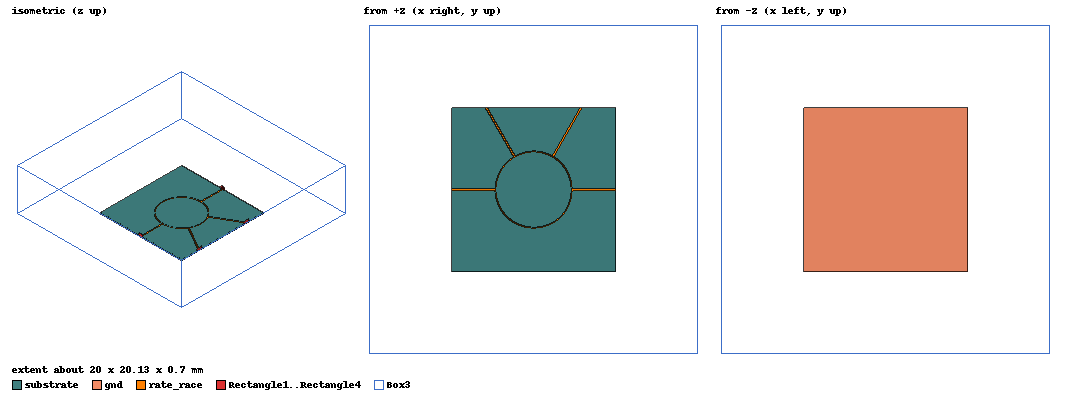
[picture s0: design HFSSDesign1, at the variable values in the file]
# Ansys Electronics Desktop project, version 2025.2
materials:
  vacuum: permittivity=1
  copper: permeability=0.999991 conductivity=58000000
  Material1: permittivity=3.3 dielectric_loss_tangent=0.003
  Material2: permittivity=3.3 dielectric_loss_tangent=0.003
  air: permittivity=1.0006 permeability=1.0000004

design HFSSDesign1 (HFSS, HFSS Terminal Network, model units mm)
options: Calculate_Lossy_Dielectrics
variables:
  width_gnd = 20mm
  copper_height = 0.02mm
  sub_height = 0.1mm
  width_micro = 0.218mm
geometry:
  gnd [copper, solve inside] = box(corner=(-width_gnd/2, -width_gnd/2, 0mm), size=(width_gnd, width_gnd, copper_height))
  substrate [Material1] = box(corner=(-width_gnd/2, -width_gnd/2, copper_height), size=(width_gnd, width_gnd, sub_height))
  Cylinder1 = cylinder(axis=Z, base_centre=(0mm, 0mm, copper_height+sub_height), radius=4.589mm, height=copper_height)
  rate_race [copper] = cylinder(axis=Z, base_centre=(0mm, 0mm, copper_height+sub_height), radius=4.701mm, height=copper_height)
  rate_race.subtract(Cylinder1)
  arm1 = box(corner=(width_gnd/2, -width_micro/2, copper_height+sub_height), size=(-5.4mm, width_micro, copper_height))
  arm2 = box(corner=(-width_gnd/2, -width_micro/2, copper_height+sub_height), size=(5.4mm, width_micro, copper_height))
  arm3 = box(corner=(width_gnd/2+5mm, -width_micro/2, copper_height+sub_height), size=(-10.4mm, width_micro, copper_height))
  arm3.rotate(axis=Z, angle=60deg)
  arm4 = box(corner=(width_gnd/2+5mm, -width_micro/2, copper_height+sub_height), size=(-10.4mm, width_micro, copper_height))
  arm4.rotate(axis=Z, angle=120deg)
  Rectangle1 = rectangle(corner=(-10mm, -2.5*width_micro, 0mm), y_size=5*width_micro, z_size=0.7mm)
  Rectangle2 = rectangle(corner=(10mm, -2.5*width_micro, 0mm), y_size=5*width_micro, z_size=0.7mm)
  Rectangle3 = rectangle(corner=(-5.094mm -5.5*width_micro, 10mm, 0mm), z_size=0.7mm, x_size=5*width_micro)
  Rectangle4 = rectangle(corner=(4.876mm+1.5*width_micro, 10mm, 0mm), z_size=0.7mm, x_size=5*width_micro)
  Box3 [air] = box(corner=(20mm, 20mm, 0mm), size=(-40mm, -40mm, 10mm))
  Box4 = box(corner=(-10mm, 10mm, 0mm), size=(20mm, 10mm, 0.14mm))
  Box4_1 = Box4.copy()
  arm3.subtract(Box4_1)
  arm4.subtract(Box4)
  rate_race.unite(arm4, arm3, arm2, arm1)
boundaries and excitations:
  rate_race_T1: Terminal port=1 Faces=rate_race.face(at (-10, 0, 0.13)) TerminalResistance=50ohm
  rate_race_T2: Terminal port=2 Faces=rate_race.face(at (10, 0, 0.13)) TerminalResistance=50ohm
  rate_race_T3: Terminal port=3 Faces=rate_race.face(at (-5.7735, 10, 0.13)) TerminalResistance=50ohm
  rate_race_T4: Terminal port=4 Faces=rate_race.face(at (5.7735, 10, 0.13)) TerminalResistance=50ohm
  1: Wave Port Faces=Rectangle1.face WavePortType=Terminal NumModes=1 DeembedDist=5.4mm SpecifiedWaveDirectionFlip
  2: Wave Port Faces=Rectangle2.face WavePortType=Terminal NumModes=1 DeembedDist=5.4mm
  3: Wave Port Faces=Rectangle3.face WavePortType=Terminal NumModes=1 DeembedDist=6.78mm
  4: Wave Port Faces=Rectangle4.face WavePortType=Terminal NumModes=1 DeembedDist=6.78mm
  reference conductors: gnd
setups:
  Setup1: HfssDriven MultipleAdaptiveFreqsSetup{Low=0GHz High=20GHz} MaxDeltaS=0.03 MaximumPasses=20 MinimumPasses=1 MinimumConvergedPasses=1 PercentRefinement=30 BasisOrder=1 PortAccuracy=2 DrivenSolverType="Direct Solver"
    sweep Sweep: 0.001GHz to 20GHz step 0.125GHz; Type=Interpolating InterpTolerance=0.5 InterpMaxSolns=250 PassivityErrorTolerance=0.0001
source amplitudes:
  1:1: 1V 0deg
  2:1, 3:1, 4:1: 0V 0deg
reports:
  Terminal S Parameter Plot1: dB(St(rate_race_T1,rate_race_T1)) vs Freq on Setup1 : Sweep; markers MX1 at x=1.0014164e+10, MY1 at y=-9.9685
  Terminal S Parameter Plot2: dB(St(rate_race_T2,rate_race_T1)) vs Freq on Setup1 : Sweep; markers MX1 at x=1e+10, MY1 at y=-2.99803
  Terminal S Parameter Plot3: dB(St(rate_race_T3,rate_race_T1)) vs Freq on Setup1 : Sweep; markers MX1 at x=1.0014286e+10
  Terminal S Parameter Plot4: dB(St(rate_race_T4,rate_race_T1)) vs Freq on Setup1 : Sweep; markers MX1 at x=1e+10, MY1 at y=-10.1575
  Terminal S Parameter Plot5: dB(St(rate_race_T2,rate_race_T2)) vs Freq on Setup1 : Sweep; markers MX1 at x=9.9644128e+09
  Terminal S Parameter Plot6: ang_deg(St(rate_race_T2,rate_race_T1)) vs Freq on Setup1 : Sweep; markers MX1 at x=1.0014472e+10
  Plot1: ang_deg(St(rate_race_T2,rate_race_T1))-ang_deg(St(rate_race_T3,rate_race_T1)) vs Freq on Setup1 : Sweep; markers MX1 at x=1e+10
  Terminal S Parameter Plot7: ang_deg(St(rate_race_T3,rate_race_T1)) vs Freq on Setup1 : Sweep; markers MX1 at x=1e+10
  Terminal S Parameter Plot8: dB(St(rate_race_T1,rate_race_T1)), dB(St(rate_race_T2,rate_race_T1)), dB(St(rate_race_T3,rate_race_T1)), dB(St(rate_race_T4,rate_race_T1)), dB(St(rate_race_T2,rate_race_T2)), dB(St(rate_race_T3,rate_race_T3)), dB(St(rate_race_T2,rate_race_T3)) vs Freq on Setup1 : Sweep; markers MX1 at x=1.0035587e+10
